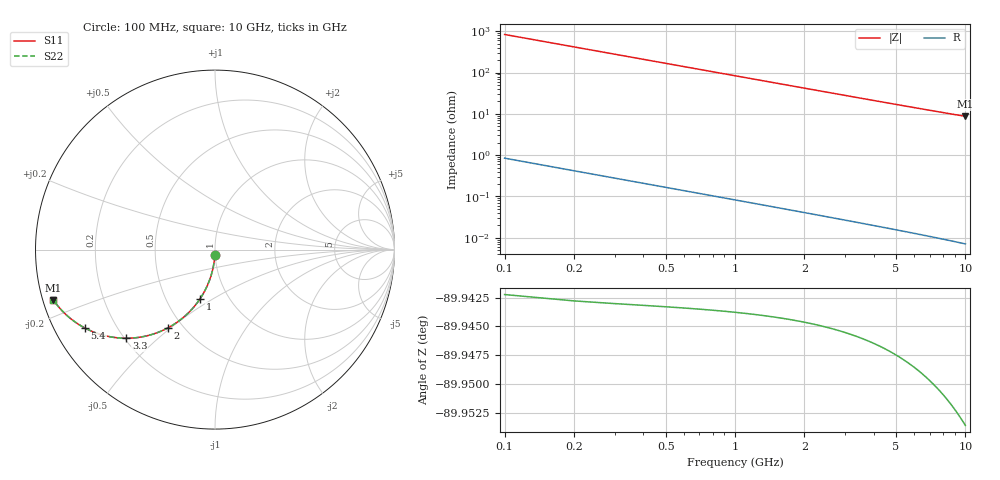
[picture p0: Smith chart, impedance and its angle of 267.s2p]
# Hz S RI R 50.00
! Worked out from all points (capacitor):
!   100 points, 100 MHz to 10 GHz, reference 50 ohm
!   read as one part in shunt: C = 1.9 pF near 100 MHz
!   lowest |Z| = 8.69 ohm at 10 GHz (marker M1)
!   S11 on the Smith chart (normalised r, x): 100 MHz: 1.00, -0.06; 1 GHz: 0.74, -0.44; 2 GHz: 0.41, -0.49; 3.3 GHz: 0.21, -0.40; 5.4 GHz: 0.09, -0.28; 10 GHz: 0.03, -0.15
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1e8  -0.000863 -0.0297  0.999 -0.0301  0.999 -0.0301  -0.000863 -0.0297
2e8  -0.00357 -0.0593  0.9963 -0.06  0.9963 -0.06  -0.00357 -0.0593
3e8  -0.00802 -0.0885  0.9919 -0.0895  0.9919 -0.0895  -0.00802 -0.0885
4e8  -0.0142 -0.1173  0.9857 -0.1186  0.9857 -0.1186  -0.0142 -0.1173
5e8  -0.022 -0.1455  0.9779 -0.1471  0.9779 -0.1471  -0.022 -0.1455
6e8  -0.0313 -0.1729  0.9685 -0.1749  0.9685 -0.1749  -0.0313 -0.1729
7e8  -0.0421 -0.1994  0.9577 -0.2017  0.9577 -0.2017  -0.0421 -0.1994
8e8  -0.0543 -0.225  0.9455 -0.2276  0.9455 -0.2276  -0.0543 -0.225
1e9  -0.0823 -0.2728  0.9175 -0.2762  0.9175 -0.2762  -0.0823 -0.2728
1.2e9  -0.1144 -0.3158  0.8855 -0.3199  0.8855 -0.3199  -0.1144 -0.3158
1.4e9  -0.1495 -0.3538  0.8504 -0.3585  0.8504 -0.3585  -0.1495 -0.3538
1.8e9  -0.225 -0.4141  0.7748 -0.4202  0.7748 -0.4202  -0.225 -0.4141
2e9  -0.2639 -0.4369  0.736 -0.4436  0.736 -0.4436  -0.2639 -0.4369
2.6e9  -0.3772 -0.4798  0.6226 -0.4886  0.6226 -0.4886  -0.3772 -0.4798
3.3e9  -0.4939 -0.4939  0.5059 -0.505  0.5059 -0.505  -0.4939 -0.4939
3.4e9  -0.5089 -0.4937  0.4909 -0.5051  0.4909 -0.5051  -0.5089 -0.4937
4.2e9  -0.6127 -0.4795  0.387 -0.4937  0.387 -0.4937  -0.6127 -0.4795
5.1e9  -0.7002 -0.4489  0.2995 -0.4662  0.2995 -0.4662  -0.7002 -0.4489
5.4e9  -0.7238 -0.4373  0.2759 -0.4557  0.2759 -0.4557  -0.7238 -0.4373
6.7e9  -0.8018 -0.3865  0.1978 -0.4095  0.1978 -0.4095  -0.8018 -0.3865
8.4e9  -0.8647 -0.3267  0.1347 -0.3557  0.1347 -0.3557  -0.8647 -0.3267
1e10  -0.9011 -0.28  0.0981 -0.3149  0.0981 -0.3149  -0.9011 -0.28
